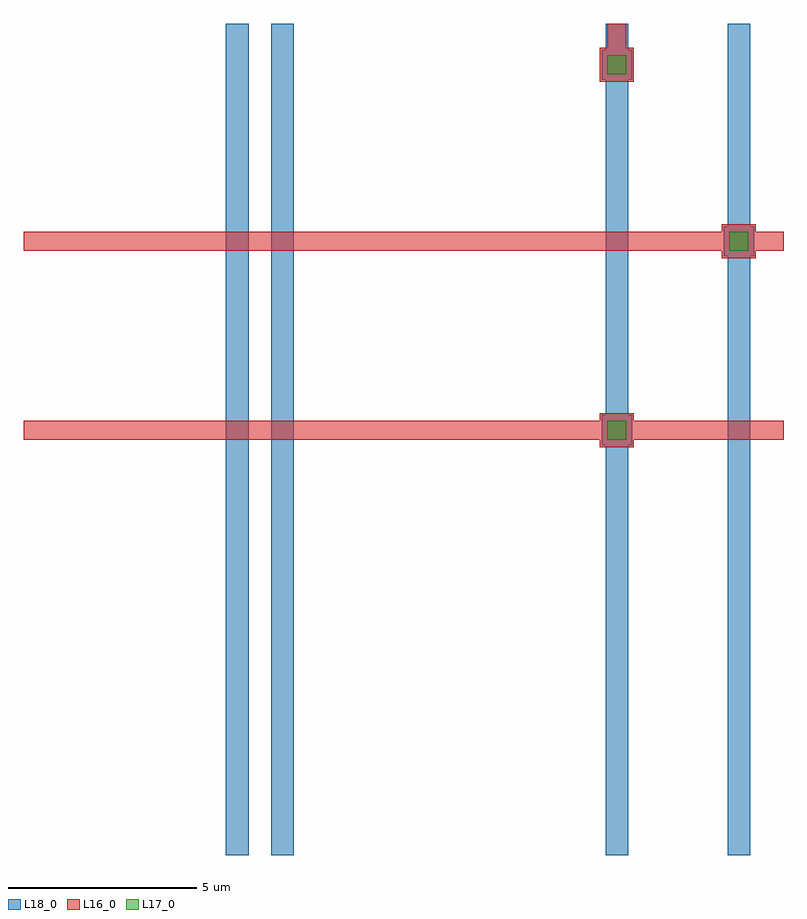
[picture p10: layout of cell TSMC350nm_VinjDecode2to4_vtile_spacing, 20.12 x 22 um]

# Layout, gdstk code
import gdstk
lib = gdstk.Library(unit=1e-6, precision=1e-09)
def R(c, l, rs):  # rectangles x0, y0, x1, y1
    for r in rs: c.add(gdstk.rectangle(r[:2], r[2:], *l))
L16_0 = (16, 0)
L17_0 = (17, 0)
L18_0 = (18, 0)

prog_periph_via2_cdns_73 = lib.new_cell('prog_periph_VIA2_CDNS_731292414490')
R(prog_periph_via2_cdns_73, L16_0, [(-0.45,-0.45,0.45,0.45)])
R(prog_periph_via2_cdns_73, L17_0, [(-0.25,-0.25,0.25,0.25)])
R(prog_periph_via2_cdns_73, L18_0, [(-0.4,-0.4,0.4,0.4)])

tsmc350nm_vinjdecode2to4 = lib.new_cell('TSMC350nm_VinjDecode2to4_vtile_spacing')
tsmc350nm_vinjdecode2to4.add(gdstk.FlexPath([(5.66,0),(5.66,22)], 0.6, ends="flush", simple_path=True, layer=18, datatype=0))  # L18_0
tsmc350nm_vinjdecode2to4.add(gdstk.FlexPath([(6.86,0),(6.86,22)], 0.6, ends="flush", simple_path=True, layer=18, datatype=0))  # L18_0
tsmc350nm_vinjdecode2to4.add(gdstk.FlexPath([(18.94,0),(18.94,22)], 0.6, ends="flush", simple_path=True, layer=18, datatype=0))  # L18_0
tsmc350nm_vinjdecode2to4.add(gdstk.FlexPath([(15.71,0),(15.71,22)], 0.6, ends="flush", simple_path=True, layer=18, datatype=0))  # L18_0
tsmc350nm_vinjdecode2to4.add(gdstk.FlexPath([(2.26,11.25),(0,11.25)], 0.5, ends="flush", simple_path=True, layer=16, datatype=0))  # L16_0
tsmc350nm_vinjdecode2to4.add(gdstk.FlexPath([(2.26,16.25),(0,16.25)], 0.5, ends="flush", simple_path=True, layer=16, datatype=0))  # L16_0
tsmc350nm_vinjdecode2to4.add(gdstk.FlexPath([(15.71,11.25),(2.26,11.25)], 0.5, ends="flush", simple_path=True, layer=16, datatype=0))  # L16_0
tsmc350nm_vinjdecode2to4.add(gdstk.FlexPath([(18.94,16.25),(2.26,16.25)], 0.5, ends="flush", simple_path=True, layer=16, datatype=0))  # L16_0
tsmc350nm_vinjdecode2to4.add(gdstk.FlexPath([(20.12,16.25),(18.94,16.25)], 0.5, ends="flush", simple_path=True, layer=16, datatype=0))  # L16_0
tsmc350nm_vinjdecode2to4.add(gdstk.FlexPath([(15.71,21.1),(15.71,22)], 0.5, ends="flush", simple_path=True, layer=16, datatype=0))  # L16_0
tsmc350nm_vinjdecode2to4.add(gdstk.FlexPath([(20.12,11.25),(15.71,11.25)], 0.5, ends="flush", simple_path=True, layer=16, datatype=0))  # L16_0
tsmc350nm_vinjdecode2to4.add(gdstk.Reference(prog_periph_via2_cdns_73, (15.71,11.25)))
tsmc350nm_vinjdecode2to4.add(gdstk.Reference(prog_periph_via2_cdns_73, (18.94,16.25)))
tsmc350nm_vinjdecode2to4.add(gdstk.Reference(prog_periph_via2_cdns_73, (15.71,20.92)))

lib.write_gds('TSMC350nm_VinjDecode2to4_vtile_spacing.gds')
